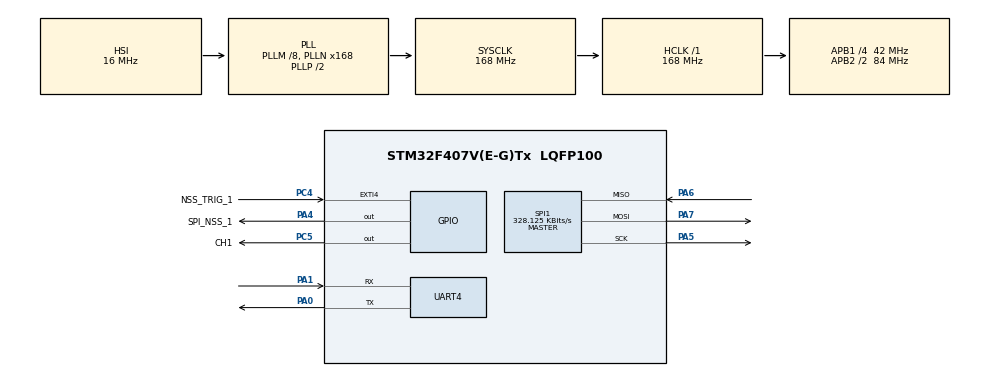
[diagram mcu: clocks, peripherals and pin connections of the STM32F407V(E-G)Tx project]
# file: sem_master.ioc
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Dma.Request0=SPI1_RX
Dma.Request1=SPI1_TX
Dma.SPI1_RX.0.Direction=DMA_PERIPH_TO_MEMORY
Dma.SPI1_RX.0.FIFOMode=DMA_FIFOMODE_DISABLE
Dma.SPI1_RX.0.Instance=DMA2_Stream0
Dma.SPI1_RX.0.MemDataAlignment=DMA_MDATAALIGN_BYTE
Dma.SPI1_RX.0.MemInc=DMA_MINC_ENABLE
Dma.SPI1_RX.0.Mode=DMA_NORMAL
Dma.SPI1_RX.0.PeriphDataAlignment=DMA_PDATAALIGN_BYTE
Dma.SPI1_RX.0.PeriphInc=DMA_PINC_DISABLE
Dma.SPI1_RX.0.Priority=DMA_PRIORITY_MEDIUM
Dma.SPI1_TX.1.Direction=DMA_MEMORY_TO_PERIPH
Dma.SPI1_TX.1.FIFOMode=DMA_FIFOMODE_DISABLE
Dma.SPI1_TX.1.Instance=DMA2_Stream3
Dma.SPI1_TX.1.MemDataAlignment=DMA_MDATAALIGN_BYTE
Dma.SPI1_TX.1.MemInc=DMA_MINC_ENABLE
Dma.SPI1_TX.1.Mode=DMA_NORMAL
Dma.SPI1_TX.1.PeriphDataAlignment=DMA_PDATAALIGN_BYTE
Dma.SPI1_TX.1.PeriphInc=DMA_PINC_DISABLE
Dma.SPI1_TX.1.Priority=DMA_PRIORITY_MEDIUM
Mcu.Family=STM32F4
Mcu.Name=STM32F407V(E-G)Tx
Mcu.Package=LQFP100
NVIC.DMA2_Stream0_IRQn=true\:0\:0\:false\:false\:true\:false\:true\:true
NVIC.DMA2_Stream3_IRQn=true\:0\:0\:false\:false\:true\:false\:true\:true
NVIC.EXTI4_IRQn=true\:0\:0\:false\:false\:true\:true\:true\:true
NVIC.PriorityGroup=NVIC_PRIORITYGROUP_4
NVIC.SPI1_IRQn=true\:0\:0\:false\:false\:true\:true\:true\:true
NVIC.TIM1_UP_TIM10_IRQn=true\:0\:0\:false\:false\:true\:true\:true\:true
PA0-WKUP.Mode=Asynchronous
PA0-WKUP.Signal=UART4_TX
PA1.Mode=Asynchronous
PA1.Signal=UART4_RX
PA13.Mode=Serial_Wire
PA13.Signal=SYS_JTMS-SWDIO
PA14.Mode=Serial_Wire
PA14.Signal=SYS_JTCK-SWCLK
PA4.GPIO_Label=SPI_NSS_1
PA4.Signal=GPIO_Output
PA5.Mode=Full_Duplex_Master
PA5.Signal=SPI1_SCK
PA6.Mode=Full_Duplex_Master
PA6.Signal=SPI1_MISO
PA7.Mode=Full_Duplex_Master
PA7.Signal=SPI1_MOSI
PC4.GPIO_Label=NSS_TRIG_1
PC4.GPIO_ModeDefaultEXTI=GPIO_MODE_IT_RISING_FALLING
PC4.Signal=GPXTI4
PC5.GPIO_Label=CH1
PC5.Signal=GPIO_Output
PH0-OSC_IN.Mode=HSE-External-Oscillator
PH0-OSC_IN.Signal=RCC_OSC_IN
PH1-OSC_OUT.Mode=HSE-External-Oscillator
PH1-OSC_OUT.Signal=RCC_OSC_OUT
ProjectManager.HeapSize=0x200
ProjectManager.StackSize=0x400
ProjectManager.TargetToolchain=STM32CubeIDE
RCC.48MHZClocksFreq_Value=84000000
RCC.AHBFreq_Value=168000000
RCC.APB1CLKDivider=RCC_HCLK_DIV4
RCC.APB1Freq_Value=42000000
RCC.APB1TimFreq_Value=84000000
RCC.APB2CLKDivider=RCC_HCLK_DIV2
RCC.APB2Freq_Value=84000000
RCC.APB2TimFreq_Value=168000000
RCC.CortexFreq_Value=168000000
RCC.HCLKFreq_Value=168000000
RCC.HSE_VALUE=25000000
RCC.HSI_VALUE=16000000
RCC.LSE_VALUE=32768
RCC.PLLM=8
RCC.PLLN=168
RCC.SYSCLKFreq_VALUE=168000000
RCC.SYSCLKSource=RCC_SYSCLKSOURCE_PLLCLK
RCC.VCOOutputFreq_Value=336000000
SPI1.BaudRatePrescaler=SPI_BAUDRATEPRESCALER_256
SPI1.CRCCalculation=SPI_CRCCALCULATION_ENABLE
SPI1.CalculateBaudRate=328.125 KBits/s
SPI1.Direction=SPI_DIRECTION_2LINES
SPI1.Mode=SPI_MODE_MASTER
SPI1.VirtualType=VM_MASTER
TIM1.Period=20000-1
TIM1.Prescaler=8400-1
UART4.VirtualMode=Asynchronous
VP_CRC_VS_CRC.Mode=CRC_Activate
VP_TIM1_VS_ClockSourceINT.Mode=Internal
board=custom

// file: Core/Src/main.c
/* USER CODE BEGIN Header */
/**
 ******************************************************************************
 * @file           : main.c
 * @brief          : Main program body
 ******************************************************************************
 * @attention
 *
 * Copyright (c) 2023 STMicroelectronics.
 * All rights reserved.
 *
 * This software is licensed under terms that can be found in the LICENSE file
 * in the root directory of this software component.
 * If no LICENSE file comes with this software, it is provided AS-IS.
 *
 ******************************************************************************
 */
/* USER CODE END Header */
#include "main.h"

/* USER CODE BEGIN Includes */
#include "string.h"
/* USER CODE END Includes */

/* USER CODE BEGIN PD */
#define TIMEOUT 10
/* USER CODE END PD */

CRC_HandleTypeDef hcrc;

SPI_HandleTypeDef hspi1;
DMA_HandleTypeDef hdma_spi1_rx;
DMA_HandleTypeDef hdma_spi1_tx;

TIM_HandleTypeDef htim1;

UART_HandleTypeDef huart4;

/* USER CODE BEGIN PV */
int32_t master_transmit[6], master_receive[6];

int flag_nss_master;
int tim_counter;

uint8_t spi_flag_2, spi_flag_1;
;
uint32_t spi_timeout;
uint8_t spi_timeout_enable;

uint32_t spi_timeout_1, spi_timeout_2;
uint8_t spi_timeout_enable_1, spi_timeout_enable_2;

int flag_spi_ready;
int nss_cond, nss_exti;
/* USER CODE END PV */

void SystemClock_Config(void);
static void MX_GPIO_Init(void);
static void MX_DMA_Init(void);
static void MX_SPI1_Init(void);
static void MX_UART4_Init(void);
static void MX_TIM1_Init(void);
static void MX_CRC_Init(void);

/* USER CODE BEGIN 0 */

//void HAL_GPIO_EXTI_Callback(uint16_t GPIO_Pin) {
//	if (GPIO_Pin == NSS_TRIG_1_Pin) {
//		if (HAL_GPIO_ReadPin(NSS_TRIG_1_GPIO_Port, NSS_TRIG_1_Pin)
//				== GPIO_PIN_RESET) {
//			nss_cond = 0;
//
//			HAL_SPI_TransmitReceive_IT(&hspi1, (uint8_t*) (master_transmit),
//					(uint8_t*) (master_receive), 24);
//
//		}
//		if (HAL_GPIO_ReadPin(NSS_TRIG_1_GPIO_Port, NSS_TRIG_1_Pin)
//				== GPIO_PIN_SET) {
//			flag_spi_ready = 0;
////			HAL_SPI_Abort_IT(&hspi1);
//		}
//	}
//}
//void HAL_SPI_TxRxCpltCallback(SPI_HandleTypeDef *hspi) {
//
//	if (hspi->Instance == SPI1) {
//		if (HAL_SPI_GetError(&hspi1) != HAL_SPI_ERROR_NONE) {
////			memset(master_receive, 0, 24);
//			flag_spi_ready = 0;
//		} else {
////			memset(master_receive, 0, 24);
//			flag_spi_ready = 0;
//		}
//		nss_cond = 1;
//		HAL_GPIO_WritePin(SPI_NSS_1_GPIO_Port, SPI_NSS_1_Pin, SET);
//	}
//}
void HAL_SPI_TxRxCpltCallback(SPI_HandleTypeDef *hspi) {
	if (hspi->Instance == SPI1) {
		if (HAL_SPI_GetError(&hspi1) != HAL_SPI_ERROR_NONE) {
			memset(master_receive, 0, 24);
		} else {
	//			memset(master_receive, 0, 24);
		}
		asm("nop");
		nss_cond = 1;
//		if (HAL_SPI_GetError(&hspi1) != HAL_SPI_ERROR_NONE) {
//			memset(master_receive, 0, 24);
//			flag_spi_ready = 0;
//		} else {
////			memset(master_receive, 0, 24);
//			flag_spi_ready = 0;
//		}
//		nss_cond = 1;
//		HAL_GPIO_WritePin(SPI_NSS_1_GPIO_Port, SPI_NSS_1_Pin, SET);

	}
}
/* USER CODE END 0 */

int main(void)
{

  /* MCU Configuration--------------------------------------------------------*/

  /* Reset of all peripherals, Initializes the Flash interface and the Systick. */
  HAL_Init();

  /* Configure the system clock */
  SystemClock_Config();

  /* Initialize all configured peripherals */
  MX_GPIO_Init();
  MX_DMA_Init();
  MX_SPI1_Init();
  MX_UART4_Init();
  MX_TIM1_Init();
  MX_CRC_Init();
  /* USER CODE BEGIN 2 */

	HAL_GPIO_WritePin(SPI_NSS_1_GPIO_Port, SPI_NSS_1_Pin, SET);
	HAL_Delay(1);
	HAL_GPIO_WritePin(SPI_NSS_1_GPIO_Port, SPI_NSS_1_Pin, RESET);

	flag_spi_ready = 0;

	master_transmit[0] = 0xAAAAAAAA;
	master_transmit[1] = 0xBBBBBBBB;
	master_transmit[2] = 0xCCCCCCCC;
	master_transmit[3] = 0xDDDDDDDD;
	master_transmit[4] = 0xEEEEEEEE;
	master_transmit[5] = 0xFFFFFFFF;

	HAL_TIM_Base_Start_IT(&htim1);
  /* USER CODE END 2 */

  /* Infinite loop */
  /* USER CODE BEGIN WHILE */
	while (1) {
		tim_counter = HAL_GPIO_ReadPin(SPI_NSS_1_GPIO_Port, SPI_NSS_1_Pin);
//		tim_counter = HAL_GPIO_ReadPin(NSS_TRIG_1_GPIO_Port, NSS_TRIG_1_Pin);
//		if (flag_spi_ready == 0) {
//			HAL_GPIO_WritePin(SPI_NSS_1_GPIO_Port, SPI_NSS_1_Pin, RESET);
//			flag_spi_ready = 1;
//		}
//		if (flag_spi_ready == 2) {
//			HAL_GPIO_WritePin(SPI_NSS_1_GPIO_Port, SPI_NSS_1_Pin, SET);
//		}

//		if (nss_cond == 1){
//			nss_cond = 0;
//			HAL_GPIO_WritePin(SPI_NSS_1_GPIO_Port, SPI_NSS_1_Pin, RESET);
//		}

//		HAL_GPIO_WritePin(SPI_NSS_1_GPIO_Port, SPI_NSS_1_Pin, RESET);
//
//		HAL_SPI_TransmitReceive_IT(&hspi1, (uint8_t*) (master_transmit),
//				(uint8_t*) (master_receive), 24);
//
//		HAL_Delay(5);
//		HAL_GPIO_WritePin(SPI_NSS_1_GPIO_Port, SPI_NSS_1_Pin, SET);
//
//		HAL_Delay(5);
		if (nss_cond == 0) {
			HAL_GPIO_WritePin(SPI_NSS_1_GPIO_Port, SPI_NSS_1_Pin, RESET);
			nss_cond = 2;

			HAL_SPI_TransmitReceive_IT(&hspi1, (uint8_t*) (master_transmit),
								(uint8_t*) (master_receive), 24);
		}
		if (nss_cond == 1){

			HAL_GPIO_WritePin(SPI_NSS_1_GPIO_Port, SPI_NSS_1_Pin, SET);
//			HAL_Delay(1);

			nss_cond = 0;
		}

//		if (__HAL_SPI_GET_FLAG(&hspi1,
//				SPI_FLAG_RXNE) && __HAL_SPI_GET_FLAG(&hspi1, SPI_FLAG_TXE)) {
//			if (HAL_SPI_GetError(&hspi1) != HAL_SPI_ERROR_NONE) {
//				memset(master_receive, 0, 24);
//			} else {
//	//			memset(master_receive, 0, 24);
//			}
//			asm("nop");
//			nss_cond = 1;
//		}

    /* USER CODE END WHILE */

	}
}

void SystemClock_Config(void)
{
  RCC_OscInitTypeDef RCC_OscInitStruct = {0};
  RCC_ClkInitTypeDef RCC_ClkInitStruct = {0};

  /** Configure the main internal regulator output voltage
  */
  __HAL_RCC_PWR_CLK_ENABLE();
  __HAL_PWR_VOLTAGESCALING_CONFIG(PWR_REGULATOR_VOLTAGE_SCALE1);

  /** Initializes the RCC Oscillators according to the specified parameters
  * in the RCC_OscInitTypeDef structure.
  */
  RCC_OscInitStruct.OscillatorType = RCC_OSCILLATORTYPE_HSI;
  RCC_OscInitStruct.HSIState = RCC_HSI_ON;
  RCC_OscInitStruct.HSICalibrationValue = RCC_HSICALIBRATION_DEFAULT;
  RCC_OscInitStruct.PLL.PLLState = RCC_PLL_ON;
  RCC_OscInitStruct.PLL.PLLSource = RCC_PLLSOURCE_HSI;
  RCC_OscInitStruct.PLL.PLLM = 8;
  RCC_OscInitStruct.PLL.PLLN = 168;
  RCC_OscInitStruct.PLL.PLLP = RCC_PLLP_DIV2;
  RCC_OscInitStruct.PLL.PLLQ = 4;
  if (HAL_RCC_OscConfig(&RCC_OscInitStruct) != HAL_OK)
  {
    Error_Handler();
  }

  /** Initializes the CPU, AHB and APB buses clocks
  */
  RCC_ClkInitStruct.ClockType = RCC_CLOCKTYPE_HCLK|RCC_CLOCKTYPE_SYSCLK
                              |RCC_CLOCKTYPE_PCLK1|RCC_CLOCKTYPE_PCLK2;
  RCC_ClkInitStruct.SYSCLKSource = RCC_SYSCLKSOURCE_PLLCLK;
  RCC_ClkInitStruct.AHBCLKDivider = RCC_SYSCLK_DIV1;
  RCC_ClkInitStruct.APB1CLKDivider = RCC_HCLK_DIV4;
  RCC_ClkInitStruct.APB2CLKDivider = RCC_HCLK_DIV2;

  if (HAL_RCC_ClockConfig(&RCC_ClkInitStruct, FLASH_LATENCY_5) != HAL_OK)
  {
    Error_Handler();
  }
}

static void MX_CRC_Init(void)
{

  hcrc.Instance = CRC;
  if (HAL_CRC_Init(&hcrc) != HAL_OK)
  {
    Error_Handler();
  }

}

static void MX_SPI1_Init(void)
{

  /* SPI1 parameter configuration*/
  hspi1.Instance = SPI1;
  hspi1.Init.Mode = SPI_MODE_MASTER;
  hspi1.Init.Direction = SPI_DIRECTION_2LINES;
  hspi1.Init.DataSize = SPI_DATASIZE_8BIT;
  hspi1.Init.CLKPolarity = SPI_POLARITY_LOW;
  hspi1.Init.CLKPhase = SPI_PHASE_1EDGE;
  hspi1.Init.NSS = SPI_NSS_SOFT;
  hspi1.Init.BaudRatePrescaler = SPI_BAUDRATEPRESCALER_256;
  hspi1.Init.FirstBit = SPI_FIRSTBIT_MSB;
  hspi1.Init.TIMode = SPI_TIMODE_DISABLE;
  hspi1.Init.CRCCalculation = SPI_CRCCALCULATION_ENABLE;
  hspi1.Init.CRCPolynomial = 10;
  if (HAL_SPI_Init(&hspi1) != HAL_OK)
  {
    Error_Handler();
  }

}

static void MX_TIM1_Init(void)
{

  TIM_ClockConfigTypeDef sClockSourceConfig = {0};
  TIM_MasterConfigTypeDef sMasterConfig = {0};

  htim1.Instance = TIM1;
  htim1.Init.Prescaler = 8400-1;
  htim1.Init.CounterMode = TIM_COUNTERMODE_UP;
  htim1.Init.Period = 20000-1;
  htim1.Init.ClockDivision = TIM_CLOCKDIVISION_DIV1;
  htim1.Init.RepetitionCounter = 0;
  htim1.Init.AutoReloadPreload = TIM_AUTORELOAD_PRELOAD_DISABLE;
  if (HAL_TIM_Base_Init(&htim1) != HAL_OK)
  {
    Error_Handler();
  }
  sClockSourceConfig.ClockSource = TIM_CLOCKSOURCE_INTERNAL;
  if (HAL_TIM_ConfigClockSource(&htim1, &sClockSourceConfig) != HAL_OK)
  {
    Error_Handler();
  }
  sMasterConfig.MasterOutputTrigger = TIM_TRGO_RESET;
  sMasterConfig.MasterSlaveMode = TIM_MASTERSLAVEMODE_DISABLE;
  if (HAL_TIMEx_MasterConfigSynchronization(&htim1, &sMasterConfig) != HAL_OK)
  {
    Error_Handler();
  }

}

static void MX_UART4_Init(void)
{

  huart4.Instance = UART4;
  huart4.Init.BaudRate = 115200;
  huart4.Init.WordLength = UART_WORDLENGTH_8B;
  huart4.Init.StopBits = UART_STOPBITS_1;
  huart4.Init.Parity = UART_PARITY_NONE;
  huart4.Init.Mode = UART_MODE_TX_RX;
  huart4.Init.HwFlowCtl = UART_HWCONTROL_NONE;
  huart4.Init.OverSampling = UART_OVERSAMPLING_16;
  if (HAL_UART_Init(&huart4) != HAL_OK)
  {
    Error_Handler();
  }

}

static void MX_DMA_Init(void)
{

  /* DMA controller clock enable */
  __HAL_RCC_DMA2_CLK_ENABLE();

  /* DMA interrupt init */
  /* DMA2_Stream0_IRQn interrupt configuration */
  HAL_NVIC_SetPriority(DMA2_Stream0_IRQn, 0, 0);
  HAL_NVIC_EnableIRQ(DMA2_Stream0_IRQn);
  /* DMA2_Stream3_IRQn interrupt configuration */
  HAL_NVIC_SetPriority(DMA2_Stream3_IRQn, 0, 0);
  HAL_NVIC_EnableIRQ(DMA2_Stream3_IRQn);

}

static void MX_GPIO_Init(void)
{
  GPIO_InitTypeDef GPIO_InitStruct = {0};

  /* GPIO Ports Clock Enable */
  __HAL_RCC_GPIOH_CLK_ENABLE();
  __HAL_RCC_GPIOA_CLK_ENABLE();
  __HAL_RCC_GPIOC_CLK_ENABLE();

  /*Configure GPIO pin Output Level */
  HAL_GPIO_WritePin(SPI_NSS_1_GPIO_Port, SPI_NSS_1_Pin, GPIO_PIN_RESET);

  /*Configure GPIO pin Output Level */
  HAL_GPIO_WritePin(CH1_GPIO_Port, CH1_Pin, GPIO_PIN_RESET);

  /*Configure GPIO pin : SPI_NSS_1_Pin */
  GPIO_InitStruct.Pin = SPI_NSS_1_Pin;
  GPIO_InitStruct.Mode = GPIO_MODE_OUTPUT_PP;
  GPIO_InitStruct.Pull = GPIO_NOPULL;
  GPIO_InitStruct.Speed = GPIO_SPEED_FREQ_LOW;
  HAL_GPIO_Init(SPI_NSS_1_GPIO_Port, &GPIO_InitStruct);

  /*Configure GPIO pin : NSS_TRIG_1_Pin */
  GPIO_InitStruct.Pin = NSS_TRIG_1_Pin;
  GPIO_InitStruct.Mode = GPIO_MODE_IT_RISING_FALLING;
  GPIO_InitStruct.Pull = GPIO_NOPULL;
  HAL_GPIO_Init(NSS_TRIG_1_GPIO_Port, &GPIO_InitStruct);

  /*Configure GPIO pin : CH1_Pin */
  GPIO_InitStruct.Pin = CH1_Pin;
  GPIO_InitStruct.Mode = GPIO_MODE_OUTPUT_PP;
  GPIO_InitStruct.Pull = GPIO_NOPULL;
  GPIO_InitStruct.Speed = GPIO_SPEED_FREQ_LOW;
  HAL_GPIO_Init(CH1_GPIO_Port, &GPIO_InitStruct);

  /* EXTI interrupt init*/
  HAL_NVIC_SetPriority(EXTI4_IRQn, 0, 0);
  HAL_NVIC_EnableIRQ(EXTI4_IRQn);

}

void Error_Handler(void)
{
	__disable_irq();
	while (1) {
	}
}
